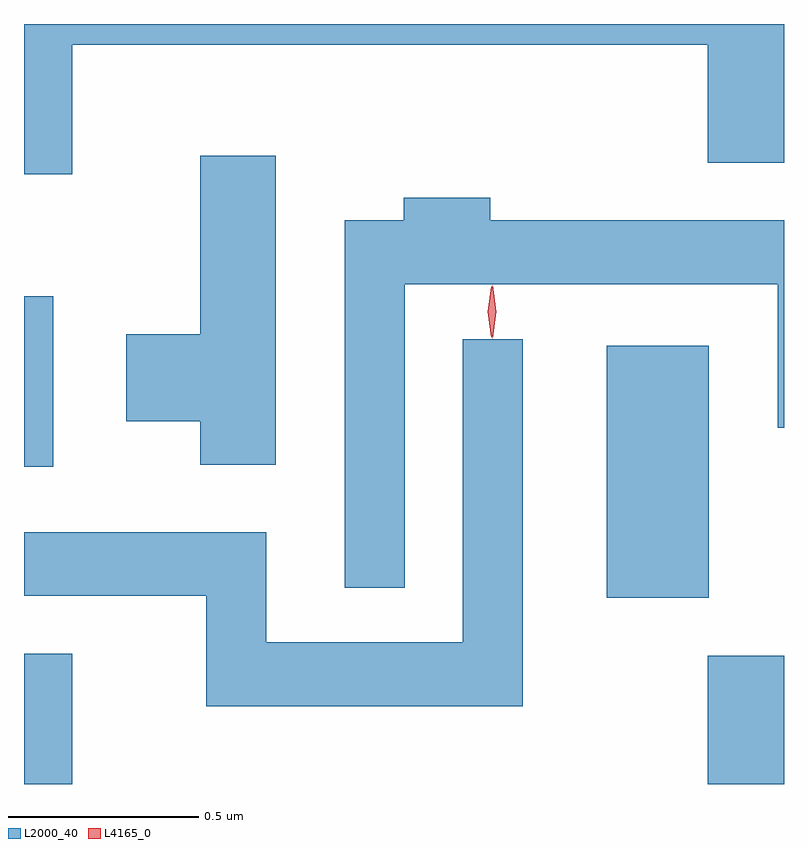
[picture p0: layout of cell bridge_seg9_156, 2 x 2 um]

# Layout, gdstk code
import gdstk
lib = gdstk.Library(unit=1e-6, precision=1e-09)
def R(c, l, rs):  # rectangles x0, y0, x1, y1
    for r in rs: c.add(gdstk.rectangle(r[:2], r[2:], *l))
def P(c, l, *ps):  # polygons
    for p in ps: c.add(gdstk.Polygon(p, *l))
L2000_40 = (2000, 40)
L4165_0 = (4165, 0)

bridge_seg9_156 = lib.new_cell('bridge_seg9_156')
R(bridge_seg9_156, L2000_40, [(1435.832,2047.591,1435.959,2047.934), (1437.631,2047.591,1437.832,2047.929), (1437.366,2048.081,1437.634,2048.744), (1435.832,2048.426,1435.909,2048.874)])
P(bridge_seg9_156, L2000_40, [(1435.959,2049.536),(1437.631,2049.536),(1437.631,2049.226),(1437.832,2049.226),(1437.832,2049.591),(1435.832,2049.591),(1435.832,2049.196),(1435.959,2049.196)],
  [(1436.494,2049.244),(1436.296,2049.244),(1436.296,2048.774),(1436.101,2048.774),(1436.101,2048.546),(1436.296,2048.546),(1436.296,2048.431),(1436.494,2048.431)],
  [(1436.834,2048.906),(1437.816,2048.906),(1437.816,2048.528),(1437.832,2048.528),(1437.832,2049.074),(1437.059,2049.074),(1437.059,2049.134),(1436.831,2049.134),(1436.831,2049.074),(1436.676,2049.074),(1436.676,2048.108),(1436.834,2048.108)],
  [(1437.144,2048.762),(1436.986,2048.762),(1436.986,2047.964),(1436.469,2047.964),(1436.469,2048.254),(1435.832,2048.254),(1435.832,2048.086),(1436.311,2048.086),(1436.311,2047.796),(1437.144,2047.796)])
P(bridge_seg9_156, L4165_0, [(1437.065,2048.764),(1437.065,2048.764),(1437.055,2048.834),(1437.065,2048.903),(1437.065,2048.903),(1437.066,2048.903),(1437.075,2048.834),(1437.066,2048.764)],
  [(1437.062,2048.767),(1437.053,2048.834),(1437.062,2048.9),(1437.063,2048.901),(1437.063,2048.9),(1437.073,2048.834),(1437.063,2048.767),(1437.063,2048.767)])

lib.write_gds('bridge_seg9_156.gds')
